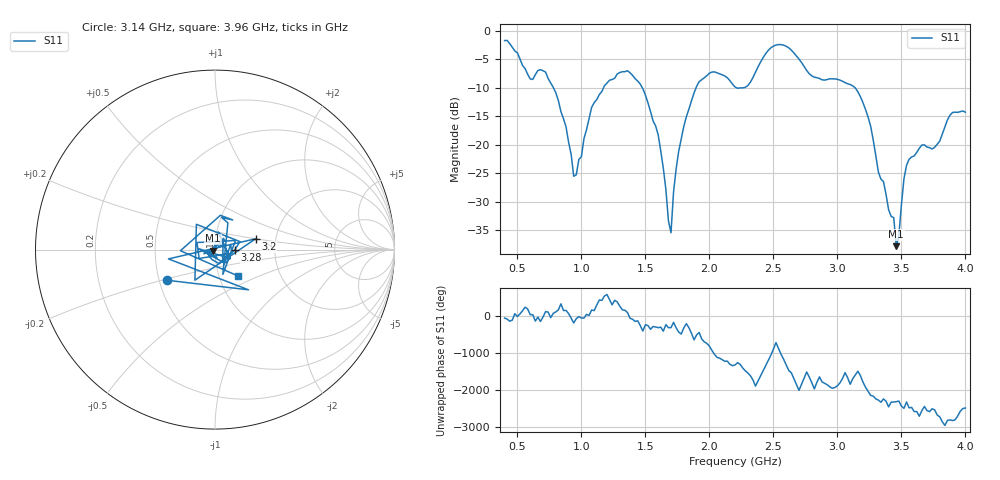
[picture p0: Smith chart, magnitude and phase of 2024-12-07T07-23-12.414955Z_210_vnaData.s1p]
!Created with skrf (http://scikit-rf.org).
# Hz S RI R 50.0
!freq ReS11 ImS11
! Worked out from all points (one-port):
!   181 points, 400 MHz to 4 GHz, reference 50 ohm
!   lowest |S11| = -37.8 dB at 3.46 GHz (marker M1), VSWR 1.03, Z = 48.9 - j0.605 ohm
!   |S11| at or under -10 dB: 781.8 MHz to 1.173 GHz (390.7 MHz wide, 40 % of centre); 1.476 GHz to 1.896 GHz (419.3 MHz wide, 24.9 % of centre); 3.14 GHz to end of sweep (the widest 3 of 4)
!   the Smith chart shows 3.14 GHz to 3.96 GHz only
!   S11 on the Smith chart (normalised r, x): 3.14 GHz: 0.55, -0.21; 3.2 GHz: 1.57, +0.20; 3.28 GHz: 1.25, -0.01; 3.96 GHz: 1.23, -0.38
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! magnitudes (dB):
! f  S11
! 400 MHz  -1.7
! 600 MHz  -8.4
! 720 MHz  -7.2
! 860 MHz  -15.4
! 940 MHz  -25.5
! 960 MHz  -25.3
! 1.08 GHz  -13.4
! 1.3 GHz  -7.3
! 1.46 GHz  -9.3
! 1.58 GHz  -16.7
! 1.7 GHz  -35.4
! 1.72 GHz  -28.3
! 1.76 GHz  -21.2
! 1.92 GHz  -8.9
! 2.2 GHz  -9.8
! 2.5 GHz  -2.7
! 2.66 GHz  -3.9
! 2.8 GHz  -7.9
! 3.1 GHz  -9.4
! 3.14 GHz  -10.0
! 3.2 GHz  -12.6
! 3.28 GHz  -19.2
! 3.44 GHz  -32.8
! 3.46 GHz  -37.8
! 3.52 GHz  -26.0
! 3.56 GHz  -22.5
! 3.96 GHz  -14.2
! 4 GHz  -14.3
